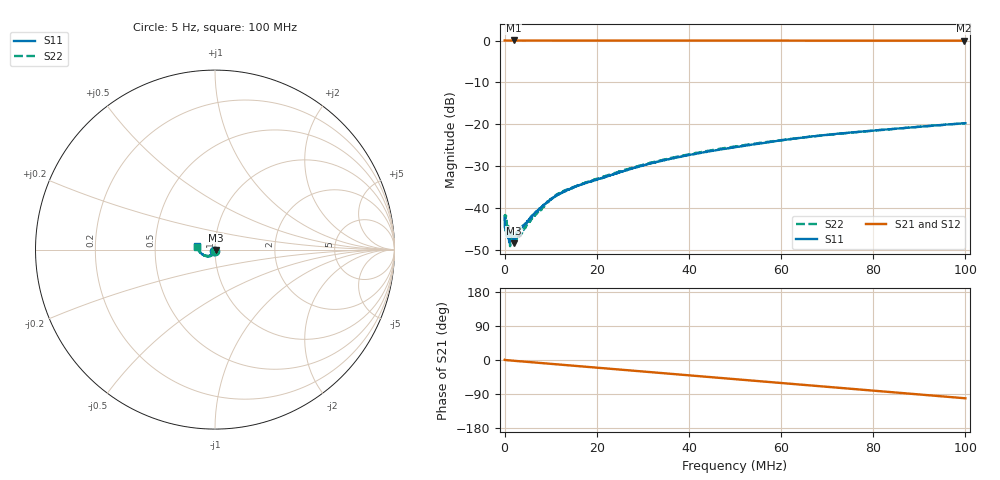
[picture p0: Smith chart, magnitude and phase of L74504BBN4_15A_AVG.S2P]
!Agilent Technologies,E5061B,MY49102235,A.02.00
!Date: Tue Jul 11 16:40:05 2023
!Data & Calibration Information:
!Freq	S11:SOLT2(ON)	S21:SOLT2(ON)	S12:SOLT2(ON)	S22:SOLT2(ON)
# Hz S RI R 50
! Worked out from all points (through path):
!   1600 points, 5 Hz to 100 MHz, reference 50 ohm
!   highest |S21| = 0.02 dB at 2.001 MHz (marker M1); lowest = 0.0 dB at 99.75 MHz (marker M2)
!   group delay of S21, straight-line fit = 2.81 ns
!   lowest |S11| = -48.5 dB at 1.939 MHz (marker M3), VSWR 1.01, Z = 50.3 - j0.21 ohm
!   |S11| at or under -10 dB: start of sweep to end of sweep
!   |S22| runs from -49.1 to -19.8 dB; largest |S21 - S12| = 0.0027
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5  -0.00512 -0.00564  1.002 0.0079  1 0.0102  -0.00145 -0.00755
437778.6  0.00512 -0.000534  1.001 -0.00545  1.001 -0.00607  0.00662 -0.00218
625395.8  0.00508 -0.000548  1.002 -0.0105  1.002 -0.0101  0.00608 -0.000934
938091.3  0.00434 -0.00028  1.001 -0.0151  1.001 -0.0147  0.00591 -0.000859
1500943  0.00437 -0.00232  1.001 -0.025  1.001 -0.025  0.00304 -0.00349
1938717  0.00314 -0.00208  1.002 -0.034  1.002 -0.0333  0.00345 -0.00183
2001256  0.00305 -0.00257  1.002 -0.0353  1.001 -0.0349  0.00319 -0.00228
2376490  0.00332 -0.00268  0.9997 -0.0415  1 -0.0417  0.00397 -0.00235
3252037  0.00428 -0.00377  0.9993 -0.0572  0.9992 -0.057  0.0032 -0.00327
6003757  0.0034 -0.0071  0.9953 -0.1056  0.9954 -0.1053  0.00299 -0.00695
9505946  0.00164 -0.0119  0.9869 -0.1671  0.9871 -0.1668  0.00111 -0.0119
1.156974e7  0.000227 -0.0145  0.9803 -0.2027  0.98 -0.2024  -0.000593 -0.0147
1.669794e7  -0.00334 -0.0188  0.9573 -0.2904  0.9573 -0.2901  -0.00365 -0.019
2.582865e7  -0.00985 -0.0257  0.8986 -0.4402  0.8984 -0.44  -0.00776 -0.0271
3.333334e7  -0.0179 -0.031  0.8321 -0.5548  0.832 -0.5545  -0.0165 -0.0324
4.040025e7  -0.0265 -0.0342  0.7563 -0.6537  0.7565 -0.6537  -0.0259 -0.0357
5.003127e7  -0.0393 -0.0357  0.6347 -0.7722  0.6347 -0.7718  -0.0395 -0.0371
6.672921e7  -0.0652 -0.0298  0.3826 -0.922  0.3829 -0.9219  -0.0646 -0.0301
7.53596e7  -0.0771 -0.021  0.2383 -0.9685  0.2386 -0.9684  -0.0765 -0.0219
8.33646e7  -0.0864 -0.00959  0.0998 -0.992  0.0998 -0.992  -0.0861 -0.0115
9.974984e7  -0.1011 0.0193  -0.1868 -0.9774  -0.1865 -0.9777  -0.1011 0.0163
1e8  -0.1013 0.0197  -0.1911 -0.9768  -0.1909 -0.9769  -0.1014 0.0169
